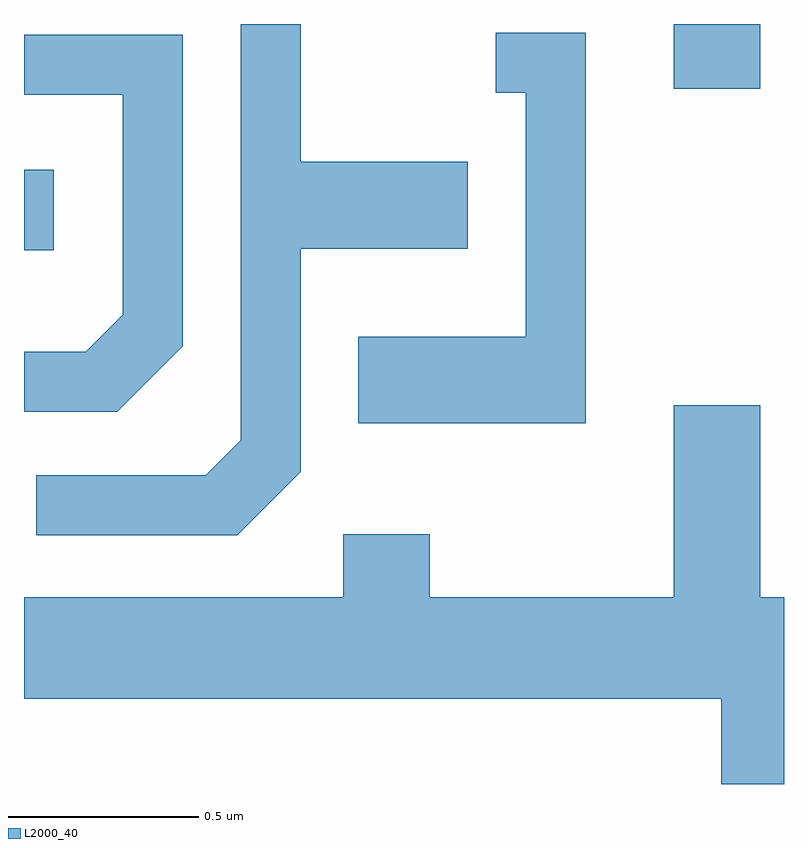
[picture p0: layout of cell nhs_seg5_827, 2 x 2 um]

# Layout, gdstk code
import gdstk
lib = gdstk.Library(unit=1e-6, precision=1e-09)
def R(c, l, rs):  # rectangles x0, y0, x1, y1
    for r in rs: c.add(gdstk.rectangle(r[:2], r[2:], *l))
def P(c, l, *ps):  # polygons
    for p in ps: c.add(gdstk.Polygon(p, *l))
L2000_40 = (2000, 40)

nhs_seg5_827 = lib.new_cell('nhs_seg5_827')
R(nhs_seg5_827, L2000_40, [(191.611,1402.476,191.689,1402.689), (193.321,1402.901,193.549,1403.072)])
P(nhs_seg5_827, L2000_40, [(192.339,1401.894),(192.339,1402.481),(192.779,1402.481),(192.779,1402.709),(192.339,1402.709),(192.339,1403.072),(192.181,1403.072),(192.181,1401.977),(192.089,1401.884),(191.643,1401.884),(191.643,1401.726),(192.172,1401.726)],
  [(193.089,1403.049),(192.853,1403.049),(192.853,1402.891),(192.931,1402.891),(192.931,1402.249),(192.491,1402.249),(192.491,1402.021),(193.089,1402.021)],
  [(192.029,1402.224),(192.029,1403.044),(191.611,1403.044),(191.611,1402.886),(191.871,1402.886),(191.871,1402.307),(191.774,1402.209),(191.611,1402.209),(191.611,1402.051),(191.857,1402.051)],
  [(193.611,1401.564),(193.549,1401.564),(193.549,1402.069),(193.321,1402.069),(193.321,1401.564),(192.679,1401.564),(192.679,1401.729),(192.451,1401.729),(192.451,1401.564),(191.611,1401.564),(191.611,1401.296),(193.446,1401.296),(193.446,1401.072),(193.611,1401.072)])

lib.write_gds('nhs_seg5_827.gds')
